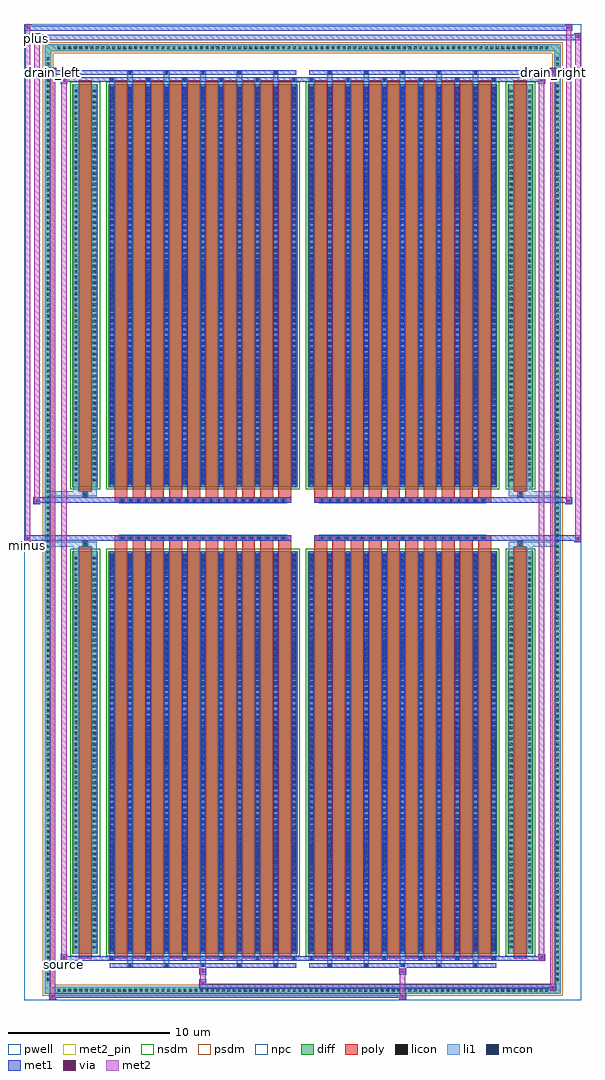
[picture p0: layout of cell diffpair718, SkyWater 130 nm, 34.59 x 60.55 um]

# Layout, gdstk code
import gdstk
lib = gdstk.Library(unit=1e-6, precision=5e-09)
def R(c, l, rs):  # rectangles x0, y0, x1, y1
    for r in rs: c.add(gdstk.rectangle(r[:2], r[2:], *l))
def A(c, l, x, y, w, h, nx, ny, dx, dy):  # array of equal rectangles
    R(c, l, [(x+i*dx, y+j*dy, x+i*dx+w, y+j*dy+h) for i in range(nx) for j in range(ny)])
def P(c, l, *ps):  # polygons
    for p in ps: c.add(gdstk.Polygon(p, *l))
pwell = (64, 44)
diff = (65, 20)
poly = (66, 20)
licon = (66, 44)
li1 = (67, 20)
mcon = (67, 44)
met1 = (68, 20)
via = (68, 44)
met2_pin = (69, 16)
met2 = (69, 20)
nsdm = (93, 44)
psdm = (94, 20)
npc = (95, 20)

diffpair718 = lib.new_cell('diffpair718')
R(diffpair718, pwell, [(-17.28,-29.84,17.28,30.71), (-14.6,-28.03,-0.01,-0.805), (0.01,-28.03,14.6,-0.805), (-14.6,0.805,-0.01,28.03), (0.01,0.805,14.6,28.03)])
A(diffpair718, diff, -15.335, -29.44, 0.41, 0.41, 90, 2, 0.34, 58.47)
A(diffpair718, diff, -16.01, -28.765, 0.41, 0.41, 1, 169, 0, 0.34)
A(diffpair718, diff, 15.6, -28.765, 0.41, 0.41, 1, 169, 0, 0.34)
R(diffpair718, diff, [(-15.335,-29.44,15.335,-29.03), (-16.01,-28.765,-15.6,28.765), (15.6,-28.765,16.01,28.765), (-14.29,-26.985,-12.71,-1.985), (-12.07,-26.985,-0.32,-1.985), (0.32,-26.985,12.07,-1.985), (12.71,-26.985,14.29,-1.985), (-14.29,1.985,-12.71,26.985), (-12.07,1.985,-0.32,26.985), (0.32,1.985,12.07,26.985), (12.71,1.985,14.29,26.985), (-15.335,29.03,15.335,29.44)])
P(diffpair718, diff, [(16.01,29.44),(-16.01,29.44),(-16.01,-29.03),(-15.6,-29.03),(-15.6,29.03),(15.6,29.03),(15.6,-29.03),(-15.6,-29.03),(-16.01,-29.03),(-16.01,-29.44),(16.01,-29.44)])
A(diffpair718, poly, -11.68, -27.235, 0.8, 25.5, 10, 2, 1.13, 28.97)
A(diffpair718, poly, 0.71, -27.235, 0.8, 25.5, 10, 2, 1.13, 28.97)
A(diffpair718, poly, -11.68, -1.735, 0.8, 0.4, 10, 2, 1.13, 3.07)
A(diffpair718, poly, 0.71, -1.735, 0.8, 0.4, 10, 2, 1.13, 3.07)
A(diffpair718, poly, -11.36, -1.335, 0.33, 0.33, 21, 2, 0.5, 2.34)
A(diffpair718, poly, 1.03, -1.335, 0.33, 0.33, 21, 2, 0.5, 2.34)
R(diffpair718, poly, [(-13.9,-27.235,-13.1,-1.735), (13.1,-27.235,13.9,-1.735), (-13.665,-1.735,-13.335,-1.405), (-13.665,-1.735,-13.335,-1.405), (13.335,-1.735,13.665,-1.405), (13.335,-1.735,13.665,-1.405), (-11.68,-1.335,-0.71,-1.005), (0.71,-1.335,11.68,-1.005), (-11.68,1.005,-0.71,1.335), (0.71,1.005,11.68,1.335), (-13.665,1.405,-13.335,1.735), (-13.665,1.405,-13.335,1.735), (13.335,1.405,13.665,1.735), (13.335,1.405,13.665,1.735), (-13.9,1.735,-13.1,27.235), (13.1,1.735,13.9,27.235)])
A(diffpair718, licon, -15.215, -29.32, 0.17, 0.17, 90, 2, 0.34, 58.47)
A(diffpair718, licon, -15.89, -28.645, 0.17, 0.17, 1, 169, 0, 0.34)
A(diffpair718, licon, 15.72, -28.645, 0.17, 0.17, 1, 169, 0, 0.34)
A(diffpair718, licon, -14.15, -26.64, 0.17, 0.17, 1, 72, 0, 0.34)
A(diffpair718, licon, -13.02, -26.64, 0.17, 0.17, 1, 72, 0, 0.34)
A(diffpair718, licon, -11.93, -26.64, 0.17, 0.17, 11, 72, 1.13, 0.34)
A(diffpair718, licon, 0.46, -26.64, 0.17, 0.17, 11, 72, 1.13, 0.34)
A(diffpair718, licon, 12.85, -26.64, 0.17, 0.17, 1, 72, 0, 0.34)
A(diffpair718, licon, 13.98, -26.64, 0.17, 0.17, 1, 72, 0, 0.34)
A(diffpair718, licon, -11.28, -1.255, 0.17, 0.17, 21, 2, 0.5, 2.34)
A(diffpair718, licon, 1.11, -1.255, 0.17, 0.17, 21, 2, 0.5, 2.34)
A(diffpair718, licon, -14.15, 2.33, 0.17, 0.17, 1, 72, 0, 0.34)
A(diffpair718, licon, -13.02, 2.33, 0.17, 0.17, 1, 72, 0, 0.34)
A(diffpair718, licon, -11.93, 2.33, 0.17, 0.17, 11, 72, 1.13, 0.34)
A(diffpair718, licon, 0.46, 2.33, 0.17, 0.17, 11, 72, 1.13, 0.34)
A(diffpair718, licon, 12.85, 2.33, 0.17, 0.17, 1, 72, 0, 0.34)
A(diffpair718, licon, 13.98, 2.33, 0.17, 0.17, 1, 72, 0, 0.34)
R(diffpair718, licon, [(-13.585,-1.655,-13.415,-1.485), (13.415,-1.655,13.585,-1.485), (-13.585,1.485,-13.415,1.655), (13.415,1.485,13.585,1.655)])
A(diffpair718, li1, -15.295, -29.4, 0.33, 0.33, 90, 2, 0.34, 58.47)
A(diffpair718, li1, -15.97, -28.725, 0.33, 0.33, 1, 169, 0, 0.34)
A(diffpair718, li1, 15.64, -28.725, 0.33, 0.33, 1, 169, 0, 0.34)
A(diffpair718, li1, -10.88, -27.79, 0.33, 0.805, 5, 2, 2.26, 54.775)
A(diffpair718, li1, -10.8, -27.79, 0.17, 0.17, 5, 2, 2.26, 55.41)
A(diffpair718, li1, 1.51, -27.79, 0.33, 0.805, 5, 2, 2.26, 54.775)
A(diffpair718, li1, 1.59, -27.79, 0.17, 0.17, 5, 2, 2.26, 55.41)
A(diffpair718, li1, -12.01, -27.36, 0.33, 0.375, 6, 2, 2.26, 54.345)
A(diffpair718, li1, -11.93, -27.36, 0.17, 0.17, 6, 2, 2.26, 54.55)
A(diffpair718, li1, 0.38, -27.36, 0.33, 0.375, 6, 2, 2.26, 54.345)
A(diffpair718, li1, 0.46, -27.36, 0.17, 0.17, 6, 2, 2.26, 54.55)
A(diffpair718, li1, -12.01, -26.985, 0.33, 25, 11, 2, 1.13, 28.97)
A(diffpair718, li1, 0.38, -26.985, 0.33, 25, 11, 2, 1.13, 28.97)
A(diffpair718, li1, -11.93, -26.81, 0.17, 0.17, 11, 69, 1.13, 0.36)
A(diffpair718, li1, -11.93, -26.81, 0.17, 24.65, 11, 2, 1.13, 28.97)
A(diffpair718, li1, 0.46, -26.81, 0.17, 0.17, 11, 69, 1.13, 0.36)
A(diffpair718, li1, 0.46, -26.81, 0.17, 24.65, 11, 2, 1.13, 28.97)
A(diffpair718, li1, -14.23, -26.72, 0.33, 0.33, 1, 72, 0, 0.34)
A(diffpair718, li1, -13.1, -26.72, 0.33, 0.33, 1, 72, 0, 0.34)
A(diffpair718, li1, -12.01, -26.72, 0.33, 0.33, 11, 72, 1.13, 0.34)
A(diffpair718, li1, 0.38, -26.72, 0.33, 0.33, 11, 72, 1.13, 0.34)
A(diffpair718, li1, 12.77, -26.72, 0.33, 0.33, 1, 72, 0, 0.34)
A(diffpair718, li1, 13.9, -26.72, 0.33, 0.33, 1, 72, 0, 0.34)
A(diffpair718, li1, -11.36, -1.335, 0.33, 0.33, 21, 2, 0.5, 2.34)
A(diffpair718, li1, 1.03, -1.335, 0.33, 0.33, 21, 2, 0.5, 2.34)
A(diffpair718, li1, -11.93, 2.16, 0.17, 0.17, 11, 69, 1.13, 0.36)
A(diffpair718, li1, 0.46, 2.16, 0.17, 0.17, 11, 69, 1.13, 0.36)
A(diffpair718, li1, -14.23, 2.25, 0.33, 0.33, 1, 72, 0, 0.34)
A(diffpair718, li1, -13.1, 2.25, 0.33, 0.33, 1, 72, 0, 0.34)
A(diffpair718, li1, -12.01, 2.25, 0.33, 0.33, 11, 72, 1.13, 0.34)
A(diffpair718, li1, 0.38, 2.25, 0.33, 0.33, 11, 72, 1.13, 0.34)
A(diffpair718, li1, 12.77, 2.25, 0.33, 0.33, 1, 72, 0, 0.34)
A(diffpair718, li1, 13.9, 2.25, 0.33, 0.33, 1, 72, 0, 0.34)
R(diffpair718, li1, [(-16.01,-29.44,-15.6,-29.03), (-16.01,-29.44,-15.6,-29.03), (-15.6,-29.44,15.6,-29.03), (15.6,-29.44,16.01,-29.03), (15.6,-29.44,16.01,-29.03), (-16.01,-29.03,-15.6,29.03), (15.6,-29.03,16.01,29.03), (-14.23,-26.985,-13.9,-1.985), (-13.1,-26.985,-12.77,-1.985), (12.77,-26.985,13.1,-1.985), (13.9,-26.985,14.23,-1.985), (-14.23,-1.985,-13.9,-1.405), (-13.1,-1.985,-12.77,-1.405), (12.77,-1.985,13.1,-1.405), (13.9,-1.985,14.23,-1.405), (-16.01,-1.735,-13.665,-1.405), (-14.23,-1.735,-13.665,-1.405), (-13.665,-1.735,-13.335,-1.405), (-13.335,-1.735,-12.77,-1.405), (12.77,-1.735,13.335,-1.405), (13.335,-1.735,13.665,-1.405), (13.335,-1.735,16.01,-1.405), (13.665,-1.735,14.23,-1.405), (-16.01,1.405,-13.665,1.735), (-14.23,1.405,-13.665,1.735), (-14.23,1.405,-13.9,1.985), (-13.665,1.405,-13.335,1.735), (-13.335,1.405,-12.77,1.735), (-13.1,1.405,-12.77,1.985), (12.77,1.405,13.335,1.735), (12.77,1.405,13.1,1.985), (13.335,1.405,13.665,1.735), (13.335,1.405,16.01,1.735), (13.665,1.405,14.23,1.735), (13.9,1.405,14.23,1.985), (-14.23,1.985,-13.9,26.985), (-13.1,1.985,-12.77,26.985), (12.77,1.985,13.1,26.985), (13.9,1.985,14.23,26.985), (-16.01,29.03,-15.6,29.44), (-16.01,29.03,-15.6,29.44), (-15.6,29.03,15.6,29.44), (15.6,29.03,16.01,29.44), (15.6,29.03,16.01,29.44)])
A(diffpair718, mcon, -10.8, -27.79, 0.17, 0.17, 5, 2, 2.26, 55.41)
A(diffpair718, mcon, 1.59, -27.79, 0.17, 0.17, 5, 2, 2.26, 55.41)
A(diffpair718, mcon, -11.93, -27.36, 0.17, 0.17, 6, 2, 2.26, 54.55)
A(diffpair718, mcon, 0.46, -27.36, 0.17, 0.17, 6, 2, 2.26, 54.55)
A(diffpair718, mcon, -11.93, -26.81, 0.17, 0.17, 11, 69, 1.13, 0.36)
A(diffpair718, mcon, 0.46, -26.81, 0.17, 0.17, 11, 69, 1.13, 0.36)
A(diffpair718, mcon, -11.28, -1.255, 0.17, 0.17, 21, 2, 0.5, 2.34)
A(diffpair718, mcon, 1.11, -1.255, 0.17, 0.17, 21, 2, 0.5, 2.34)
A(diffpair718, mcon, -11.93, 2.16, 0.17, 0.17, 11, 69, 1.13, 0.36)
A(diffpair718, mcon, 0.46, 2.16, 0.17, 0.17, 11, 69, 1.13, 0.36)
A(diffpair718, met1, -10.86, -27.85, 0.29, 0.29, 5, 2, 2.26, 55.41)
A(diffpair718, met1, 1.53, -27.85, 0.29, 0.29, 5, 2, 2.26, 55.41)
A(diffpair718, met1, -11.99, -27.42, 0.29, 0.29, 6, 2, 2.26, 54.55)
A(diffpair718, met1, 0.4, -27.42, 0.29, 0.29, 6, 2, 2.26, 54.55)
A(diffpair718, met1, -11.99, -26.985, 0.29, 25, 11, 2, 1.13, 28.97)
A(diffpair718, met1, 0.4, -26.985, 0.29, 25, 11, 2, 1.13, 28.97)
A(diffpair718, met1, -11.99, -26.87, 0.29, 0.29, 11, 69, 1.13, 0.36)
A(diffpair718, met1, 0.4, -26.87, 0.29, 0.29, 11, 69, 1.13, 0.36)
A(diffpair718, met1, -11.34, -1.315, 0.29, 0.29, 21, 2, 0.5, 2.34)
A(diffpair718, met1, 1.05, -1.315, 0.29, 0.29, 21, 2, 0.5, 2.34)
A(diffpair718, met1, -11.99, 2.1, 0.29, 0.29, 11, 69, 1.13, 0.36)
A(diffpair718, met1, 0.4, 2.1, 0.29, 0.29, 11, 69, 1.13, 0.36)
R(diffpair718, met1, [(-15.74,-29.84,-15.31,-29.41), (5.98,-29.84,6.41,-29.41), (-15.74,-29.7,6.41,-29.41), (15.31,-29.27,15.74,-28.84), (-6.41,-29.13,15.74,-28.84), (-6.41,-28.99,-5.98,-28.56), (-6.41,-28.28,-5.98,-27.85), (5.98,-28.28,6.41,-27.85), (-11.99,-27.85,-0.4,-27.56), (0.4,-27.85,11.99,-27.56), (-15.03,-27.42,-14.6,-26.99), (-15.03,-27.42,-11.99,-27.13), (-11.99,-27.42,-0.4,-27.13), (-0.4,-27.42,0.4,-27.13), (0.4,-27.42,11.99,-27.13), (11.99,-27.42,15.03,-27.13), (14.6,-27.42,15.03,-26.99), (-17.28,-1.435,-16.85,-1.005), (16.85,-1.435,17.28,-1.005), (-17.28,-1.335,-0.71,-1.005), (-11.68,-1.335,-0.71,-1.005), (0.71,-1.335,11.68,-1.005), (0.71,-1.335,17.28,-1.005), (-16.71,0.905,-16.28,1.335), (16.28,0.905,16.71,1.335), (-16.71,1.005,-11.68,1.335), (-11.68,1.005,-0.71,1.335), (0.71,1.005,11.68,1.335), (11.68,1.005,16.71,1.335), (-15.03,26.99,-14.6,27.42), (14.6,26.99,15.03,27.42), (-15.03,27.13,-11.99,27.42), (-11.99,27.13,-0.4,27.42), (-0.4,27.13,0.4,27.42), (0.4,27.13,11.99,27.42), (11.99,27.13,15.03,27.42), (-15.74,27.56,-15.31,27.99), (-15.74,27.56,-11.99,27.85), (-11.99,27.56,-0.4,27.85), (0.4,27.56,11.99,27.85), (11.99,27.56,15.74,27.85), (15.31,27.56,15.74,27.99), (-16.71,29.71,-16.28,30.14), (-16.71,29.71,-14.6,30.04), (-14.6,29.71,14.6,30.04), (14.6,29.71,17.28,30.04), (16.85,29.71,17.28,30.14), (-17.28,30.28,-16.85,30.71), (-17.28,30.28,-14.6,30.61), (-14.6,30.28,14.6,30.61), (14.6,30.28,16.71,30.61), (16.28,30.28,16.71,30.71)])
R(diffpair718, via, [(-15.6,-29.7,-15.45,-29.55), (6.12,-29.7,6.27,-29.55), (15.45,-29.13,15.6,-28.98), (-6.27,-28.85,-6.12,-28.7), (-6.27,-28.14,-6.12,-27.99), (6.12,-28.14,6.27,-27.99), (-14.89,-27.28,-14.74,-27.13), (14.74,-27.28,14.89,-27.13), (-17.14,-1.295,-16.99,-1.145), (16.99,-1.295,17.14,-1.145), (-16.57,1.045,-16.42,1.195), (16.42,1.045,16.57,1.195), (-14.89,27.13,-14.74,27.28), (14.74,27.13,14.89,27.28), (-15.6,27.7,-15.45,27.85), (15.45,27.7,15.6,27.85), (-16.57,29.85,-16.42,30), (16.99,29.85,17.14,30), (-17.14,30.42,-16.99,30.57), (16.42,30.42,16.57,30.57)])
R(diffpair718, met2_pin, [(-15.065,-27.87,-14.565,-27.37), (-17.315,-1.885,-16.815,-1.385), (-15.775,27.44,-15.275,27.94), (15.275,27.44,15.775,27.94), (-16.745,29.59,-16.245,30.09)])
R(diffpair718, met2, [(-15.69,-29.79,-15.36,-29.46), (-15.69,-29.79,-15.36,27.94), (6.03,-29.79,6.36,-29.46), (6.03,-29.46,6.36,-28.23), (15.36,-29.22,15.69,-28.89), (15.36,-29.22,15.69,27.94), (-6.36,-28.94,-6.03,-28.61), (-6.36,-28.61,-6.03,-28.23), (-6.36,-28.23,-6.03,-27.9), (6.03,-28.23,6.36,-27.9), (-14.98,-27.37,-14.65,-27.04), (-14.98,-27.37,-14.65,27.37), (14.65,-27.37,14.98,-27.04), (14.65,-27.37,14.98,27.37), (-17.23,-1.385,-16.9,-1.055), (-17.23,-1.385,-16.9,30.66), (16.9,-1.385,17.23,-1.055), (16.9,-1.385,17.23,30.09), (-16.66,0.955,-16.33,1.285), (-16.66,0.955,-16.33,30.09), (16.33,0.955,16.66,1.285), (16.33,0.955,16.66,30.66), (-14.98,27.04,-14.65,27.37), (14.65,27.04,14.98,27.37), (-15.69,27.61,-15.36,27.94), (15.36,27.61,15.69,27.94), (-16.66,29.76,-16.33,30.09), (16.9,29.76,17.23,30.09), (-17.23,30.33,-16.9,30.66), (16.33,30.33,16.66,30.66)])
P(diffpair718, met2, [(17.23,-1.385),(17.23,-1.385),(17.23,-1.055),(17.23,-1.055)],
  [(17.23,29.76),(17.23,29.76),(17.23,30.09),(17.23,30.09)],
  [(-16.9,-1.385),(-16.9,-1.385),(-16.9,-1.055),(-16.9,-1.055)],
  [(-16.9,30.33),(-16.9,30.33),(-16.9,30.66),(-16.9,30.66)],
  [(16.66,0.955),(16.66,0.955),(16.66,1.285),(16.66,1.285)],
  [(16.66,30.33),(16.66,30.33),(16.66,30.66),(16.66,30.66)],
  [(-16.33,0.955),(-16.33,0.955),(-16.33,1.285),(-16.33,1.285)],
  [(-16.33,29.76),(-16.33,29.76),(-16.33,30.09),(-16.33,30.09)],
  [(-15.36,-29.79),(-15.36,-29.79),(-15.36,-29.46),(-15.36,-29.46)],
  [(-15.36,27.61),(-15.36,27.61),(-15.36,27.94),(-15.36,27.94)],
  [(15.69,-29.22),(15.69,-29.22),(15.69,-28.89),(15.69,-28.89)],
  [(15.69,27.61),(15.69,27.61),(15.69,27.94),(15.69,27.94)],
  [(-14.65,-27.37),(-14.65,-27.37),(-14.65,-27.04),(-14.65,-27.04)],
  [(-14.65,27.04),(-14.65,27.04),(-14.65,27.37),(-14.65,27.37)],
  [(14.98,-27.37),(14.98,-27.37),(14.98,-27.04),(14.98,-27.04)],
  [(14.98,27.04),(14.98,27.04),(14.98,27.37),(14.98,27.37)])
R(diffpair718, nsdm, [(-14.42,-27.115,-12.58,-1.855), (-12.2,-27.115,-0.19,-1.855), (0.19,-27.115,12.2,-1.855), (12.58,-27.115,14.42,-1.855), (-14.42,1.855,-12.58,27.115), (-12.2,1.855,-0.19,27.115), (0.19,1.855,12.2,27.115), (12.58,1.855,14.42,27.115)])
P(diffpair718, psdm, [(16.14,29.57),(-16.14,29.57),(-16.14,-28.9),(-15.47,-28.9),(-15.47,28.9),(15.47,28.9),(15.47,-28.9),(-15.47,-28.9),(-16.14,-28.9),(-16.14,-29.57),(16.14,-29.57)])
A(diffpair718, npc, -11.38, -1.355, 0.37, 0.37, 21, 2, 0.5, 2.34)
A(diffpair718, npc, 1.01, -1.355, 0.37, 0.37, 21, 2, 0.5, 2.34)
R(diffpair718, npc, [(-13.685,-1.755,-13.315,-1.385), (13.315,-1.755,13.685,-1.385), (-11.38,-1.355,-10.51,-0.985), (-11.38,-1.355,-10.51,-0.985), (-10.88,-1.355,-10.01,-0.985), (-10.88,-1.355,-10.01,-0.985), (-10.38,-1.355,-9.51,-0.985), (-10.38,-1.355,-9.51,-0.985), (-9.88,-1.355,-9.01,-0.985), (-9.88,-1.355,-9.01,-0.985), (-9.38,-1.355,-8.51,-0.985), (-9.38,-1.355,-8.51,-0.985), (-8.88,-1.355,-8.01,-0.985), (-8.88,-1.355,-8.01,-0.985), (-8.38,-1.355,-7.51,-0.985), (-8.38,-1.355,-7.51,-0.985), (-7.88,-1.355,-7.01,-0.985), (-7.88,-1.355,-7.01,-0.985), (-7.38,-1.355,-6.51,-0.985), (-7.38,-1.355,-6.51,-0.985), (-6.88,-1.355,-6.01,-0.985), (-6.88,-1.355,-6.01,-0.985), (-6.38,-1.355,-5.51,-0.985), (-6.38,-1.355,-5.51,-0.985), (-5.88,-1.355,-5.01,-0.985), (-5.88,-1.355,-5.01,-0.985), (-5.38,-1.355,-4.51,-0.985), (-5.38,-1.355,-4.51,-0.985), (-4.88,-1.355,-4.01,-0.985), (-4.88,-1.355,-4.01,-0.985), (-4.38,-1.355,-3.51,-0.985), (-4.38,-1.355,-3.51,-0.985), (-3.88,-1.355,-3.01,-0.985), (-3.88,-1.355,-3.01,-0.985), (-3.38,-1.355,-2.51,-0.985), (-3.38,-1.355,-2.51,-0.985), (-2.88,-1.355,-2.01,-0.985), (-2.88,-1.355,-2.01,-0.985), (-2.38,-1.355,-1.51,-0.985), (-2.38,-1.355,-1.51,-0.985), (-1.88,-1.355,-1.01,-0.985), (-1.88,-1.355,-1.01,-0.985), (1.01,-1.355,1.88,-0.985), (1.01,-1.355,1.88,-0.985), (1.51,-1.355,2.38,-0.985), (1.51,-1.355,2.38,-0.985), (2.01,-1.355,2.88,-0.985), (2.01,-1.355,2.88,-0.985), (2.51,-1.355,3.38,-0.985), (2.51,-1.355,3.38,-0.985), (3.01,-1.355,3.88,-0.985), (3.01,-1.355,3.88,-0.985), (3.51,-1.355,4.38,-0.985), (3.51,-1.355,4.38,-0.985), (4.01,-1.355,4.88,-0.985), (4.01,-1.355,4.88,-0.985), (4.51,-1.355,5.38,-0.985), (4.51,-1.355,5.38,-0.985), (5.01,-1.355,5.88,-0.985), (5.01,-1.355,5.88,-0.985), (5.51,-1.355,6.38,-0.985), (5.51,-1.355,6.38,-0.985), (6.01,-1.355,6.88,-0.985), (6.01,-1.355,6.88,-0.985), (6.51,-1.355,7.38,-0.985), (6.51,-1.355,7.38,-0.985), (7.01,-1.355,7.88,-0.985), (7.01,-1.355,7.88,-0.985), (7.51,-1.355,8.38,-0.985), (7.51,-1.355,8.38,-0.985), (8.01,-1.355,8.88,-0.985), (8.01,-1.355,8.88,-0.985), (8.51,-1.355,9.38,-0.985), (8.51,-1.355,9.38,-0.985), (9.01,-1.355,9.88,-0.985), (9.01,-1.355,9.88,-0.985), (9.51,-1.355,10.38,-0.985), (9.51,-1.355,10.38,-0.985), (10.01,-1.355,10.88,-0.985), (10.01,-1.355,10.88,-0.985), (10.51,-1.355,11.38,-0.985), (10.51,-1.355,11.38,-0.985), (-11.38,0.985,-10.51,1.355), (-11.38,0.985,-10.51,1.355), (-10.88,0.985,-10.01,1.355), (-10.88,0.985,-10.01,1.355), (-10.38,0.985,-9.51,1.355), (-10.38,0.985,-9.51,1.355), (-9.88,0.985,-9.01,1.355), (-9.88,0.985,-9.01,1.355), (-9.38,0.985,-8.51,1.355), (-9.38,0.985,-8.51,1.355), (-8.88,0.985,-8.01,1.355), (-8.88,0.985,-8.01,1.355), (-8.38,0.985,-7.51,1.355), (-8.38,0.985,-7.51,1.355), (-7.88,0.985,-7.01,1.355), (-7.88,0.985,-7.01,1.355), (-7.38,0.985,-6.51,1.355), (-7.38,0.985,-6.51,1.355), (-6.88,0.985,-6.01,1.355), (-6.88,0.985,-6.01,1.355), (-6.38,0.985,-5.51,1.355), (-6.38,0.985,-5.51,1.355), (-5.88,0.985,-5.01,1.355), (-5.88,0.985,-5.01,1.355), (-5.38,0.985,-4.51,1.355), (-5.38,0.985,-4.51,1.355), (-4.88,0.985,-4.01,1.355), (-4.88,0.985,-4.01,1.355), (-4.38,0.985,-3.51,1.355), (-4.38,0.985,-3.51,1.355), (-3.88,0.985,-3.01,1.355), (-3.88,0.985,-3.01,1.355), (-3.38,0.985,-2.51,1.355), (-3.38,0.985,-2.51,1.355), (-2.88,0.985,-2.01,1.355), (-2.88,0.985,-2.01,1.355), (-2.38,0.985,-1.51,1.355), (-2.38,0.985,-1.51,1.355), (-1.88,0.985,-1.01,1.355), (-1.88,0.985,-1.01,1.355), (1.01,0.985,1.88,1.355), (1.01,0.985,1.88,1.355), (1.51,0.985,2.38,1.355), (1.51,0.985,2.38,1.355), (2.01,0.985,2.88,1.355), (2.01,0.985,2.88,1.355), (2.51,0.985,3.38,1.355), (2.51,0.985,3.38,1.355), (3.01,0.985,3.88,1.355), (3.01,0.985,3.88,1.355), (3.51,0.985,4.38,1.355), (3.51,0.985,4.38,1.355), (4.01,0.985,4.88,1.355), (4.01,0.985,4.88,1.355), (4.51,0.985,5.38,1.355), (4.51,0.985,5.38,1.355), (5.01,0.985,5.88,1.355), (5.01,0.985,5.88,1.355), (5.51,0.985,6.38,1.355), (5.51,0.985,6.38,1.355), (6.01,0.985,6.88,1.355), (6.01,0.985,6.88,1.355), (6.51,0.985,7.38,1.355), (6.51,0.985,7.38,1.355), (7.01,0.985,7.88,1.355), (7.01,0.985,7.88,1.355), (7.51,0.985,8.38,1.355), (7.51,0.985,8.38,1.355), (8.01,0.985,8.88,1.355), (8.01,0.985,8.88,1.355), (8.51,0.985,9.38,1.355), (8.51,0.985,9.38,1.355), (9.01,0.985,9.88,1.355), (9.01,0.985,9.88,1.355), (9.51,0.985,10.38,1.355), (9.51,0.985,10.38,1.355), (10.01,0.985,10.88,1.355), (10.01,0.985,10.88,1.355), (10.51,0.985,11.38,1.355), (10.51,0.985,11.38,1.355), (-13.685,1.385,-13.315,1.755), (13.315,1.385,13.685,1.755)])
diffpair718.add(gdstk.Label('minus', (-17.065,-1.635), layer=69, texttype=5))
diffpair718.add(gdstk.Label('drain_right', (15.525,27.69), layer=69, texttype=5))
diffpair718.add(gdstk.Label('drain_left', (-15.525,27.69), layer=69, texttype=5))
diffpair718.add(gdstk.Label('source', (-14.815,-27.62), layer=69, texttype=5))
diffpair718.add(gdstk.Label('plus', (-16.495,29.84), layer=69, texttype=5))

lib.write_gds('diffpair718.gds')
